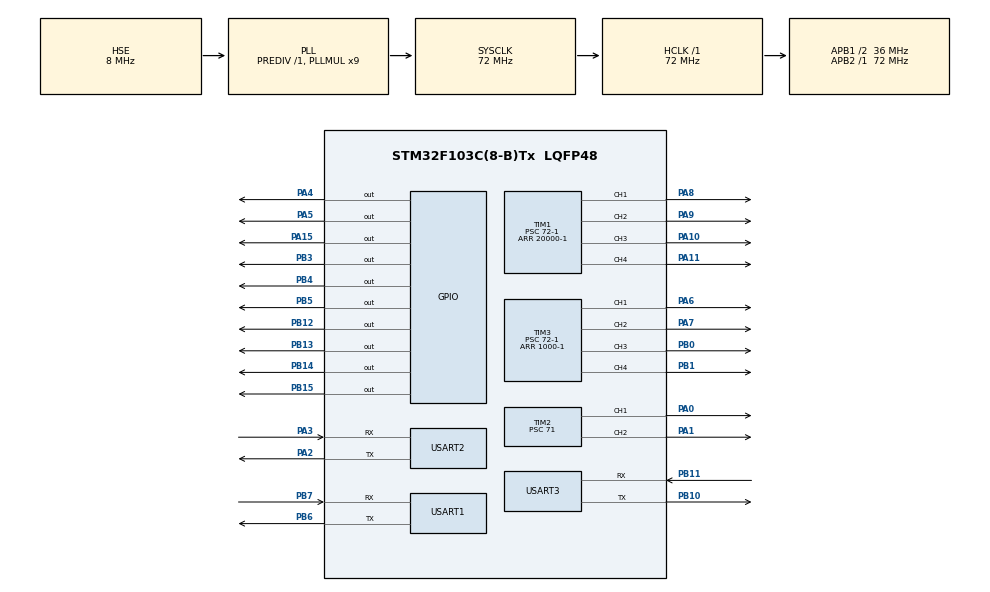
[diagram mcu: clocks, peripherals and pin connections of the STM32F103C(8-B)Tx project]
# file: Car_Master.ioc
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Mcu.Family=STM32F1
Mcu.Name=STM32F103C(8-B)Tx
Mcu.Package=LQFP48
NVIC.PriorityGroup=NVIC_PRIORITYGROUP_4
NVIC.TIM4_IRQn=true\:0\:0\:false\:false\:true\:true\:true\:true
NVIC.USART1_IRQn=true\:0\:0\:false\:false\:true\:true\:true\:true
NVIC.USART2_IRQn=true\:0\:0\:false\:false\:true\:true\:true\:true
NVIC.USART3_IRQn=true\:0\:0\:false\:false\:true\:true\:true\:true
PA0-WKUP.Signal=S_TIM2_CH1_ETR
PA1.Signal=S_TIM2_CH2
PA10.Signal=S_TIM1_CH3
PA11.Signal=S_TIM1_CH4
PA13.Mode=Serial_Wire
PA13.Signal=SYS_JTMS-SWDIO
PA14.Mode=Serial_Wire
PA14.Signal=SYS_JTCK-SWCLK
PA15.Signal=GPIO_Output
PA2.Mode=Asynchronous
PA2.Signal=USART2_TX
PA3.Mode=Asynchronous
PA3.Signal=USART2_RX
PA4.Signal=GPIO_Output
PA5.Signal=GPIO_Output
PA6.Signal=S_TIM3_CH1
PA7.Signal=S_TIM3_CH2
PA8.Signal=S_TIM1_CH1
PA9.Signal=S_TIM1_CH2
PB0.Signal=S_TIM3_CH3
PB1.Signal=S_TIM3_CH4
PB10.Mode=Asynchronous
PB10.Signal=USART3_TX
PB11.Mode=Asynchronous
PB11.Signal=USART3_RX
PB12.Signal=GPIO_Output
PB13.Signal=GPIO_Output
PB14.Signal=GPIO_Output
PB15.Signal=GPIO_Output
PB3.Signal=GPIO_Output
PB4.Signal=GPIO_Output
PB5.Signal=GPIO_Output
PB6.Mode=Asynchronous
PB6.Signal=USART1_TX
PB7.Mode=Asynchronous
PB7.Signal=USART1_RX
PD0-OSC_IN.Mode=HSE-External-Oscillator
PD0-OSC_IN.Signal=RCC_OSC_IN
PD1-OSC_OUT.Mode=HSE-External-Oscillator
PD1-OSC_OUT.Signal=RCC_OSC_OUT
ProjectManager.HeapSize=0x200
ProjectManager.StackSize=0x400
ProjectManager.TargetToolchain=MDK-ARM V5.32
RCC.AHBFreq_Value=72000000
RCC.APB1CLKDivider=RCC_HCLK_DIV2
RCC.APB1Freq_Value=36000000
RCC.APB1TimFreq_Value=72000000
RCC.APB2Freq_Value=72000000
RCC.APB2TimFreq_Value=72000000
RCC.HCLKFreq_Value=72000000
RCC.PLLMUL=RCC_PLL_MUL9
RCC.PLLSourceVirtual=RCC_PLLSOURCE_HSE
RCC.SYSCLKFreq_VALUE=72000000
RCC.SYSCLKSource=RCC_SYSCLKSOURCE_PLLCLK
RCC.USBFreq_Value=72000000
SH.S_TIM1_CH1.0=TIM1_CH1,PWM Generation1 CH1
SH.S_TIM1_CH2.0=TIM1_CH2,PWM Generation2 CH2
SH.S_TIM1_CH3.0=TIM1_CH3,PWM Generation3 CH3
SH.S_TIM1_CH4.0=TIM1_CH4,PWM Generation4 CH4
SH.S_TIM2_CH1_ETR.0=TIM2_CH1,PWM Generation1 CH1
SH.S_TIM2_CH2.0=TIM2_CH2,PWM Generation2 CH2
SH.S_TIM3_CH1.0=TIM3_CH1,PWM Generation1 CH1
SH.S_TIM3_CH2.0=TIM3_CH2,PWM Generation2 CH2
SH.S_TIM3_CH3.0=TIM3_CH3,PWM Generation3 CH3
SH.S_TIM3_CH4.0=TIM3_CH4,PWM Generation4 CH4
TIM1.Channel-PWM\ Generation1\ CH1=TIM_CHANNEL_1
TIM1.Channel-PWM\ Generation2\ CH2=TIM_CHANNEL_2
TIM1.Channel-PWM\ Generation3\ CH3=TIM_CHANNEL_3
TIM1.Channel-PWM\ Generation4\ CH4=TIM_CHANNEL_4
TIM1.Period=20000-1
TIM1.Prescaler=72-1
TIM2.Channel-PWM\ Generation1\ CH1=TIM_CHANNEL_1
TIM2.Channel-PWM\ Generation2\ CH2=TIM_CHANNEL_2
TIM2.Prescaler=71
TIM3.Channel-PWM\ Generation1\ CH1=TIM_CHANNEL_1
TIM3.Channel-PWM\ Generation2\ CH2=TIM_CHANNEL_2
TIM3.Channel-PWM\ Generation3\ CH3=TIM_CHANNEL_3
TIM3.Channel-PWM\ Generation4\ CH4=TIM_CHANNEL_4
TIM3.Period=1000-1
TIM3.Prescaler=72-1
TIM4.Period=100-1
TIM4.Prescaler=7200-1
USART1.VirtualMode=VM_ASYNC
USART2.VirtualMode=VM_ASYNC
USART3.VirtualMode=VM_ASYNC
VP_TIM1_VS_ClockSourceINT.Mode=Internal
VP_TIM3_VS_ClockSourceINT.Mode=Internal
VP_TIM4_VS_ClockSourceINT.Mode=Internal
board=custom

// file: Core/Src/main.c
/* USER CODE BEGIN Header */
/**
  ******************************************************************************
  * @file           : main.c
  * @brief          : Main program body
  ******************************************************************************
  * @attention
  *
  * Copyright (c) 2025 STMicroelectronics.
  * All rights reserved.
  *
  * This software is licensed under terms that can be found in the LICENSE file
  * in the root directory of this software component.
  * If no LICENSE file comes with this software, it is provided AS-IS.
  *
  ******************************************************************************
  */
/* USER CODE END Header */
#include "main.h"
#include "tim.h"
#include "usart.h"
#include "gpio.h"

/* USER CODE BEGIN Includes */
#include "SerialCom.h"
#include <stdio.h>
#include <stdlib.h>
/* USER CODE END Includes */

/* USER CODE BEGIN PTD */

typedef struct{
    uint8_t header[2];//0xAA 0x55
    uint8_t length;
    uint8_t frame_id;
    int8_t left_x;
    int8_t left_y;
    int8_t right_x;
    int8_t right_y;
    uint8_t keys1;
    uint8_t keys2;
    uint8_t checksum;
}XProtocol_Handle_t;

typedef struct {
    uint8_t header[2];
    uint8_t length;
    int16_t rpm[4];
    uint8_t checksum;
} Encoder_Recv_t;

typedef enum{
    STATE_HEADER1,
    STATE_HEADER2,
    STATE_LENGTH,
    STATE_DATA,
}ParserState_t;

typedef struct{
    int32_t target_rpm;
    int32_t current_rpm;
    int32_t encoder_last;
    int32_t pwm_output;
    int32_t integral;
    int32_t error_last;
}Motor_t;

Motor_t motor[4];
uint16_t servo_pwm[4]={1500,1000,2500,500};

ParserState_t bluetooth_parser_state=STATE_HEADER1;
XProtocol_Handle_t  rc_data;
uint8_t bluetooth_rx_buffer[11];
uint8_t data_buffer[16];
uint8_t bluetooth_rx_index=0;
uint8_t new_data_ready=0;
Encoder_Recv_t encoder_recv;
uint8_t encoder_rx_buf[12]; // 接收缓冲区（12字节）
uint8_t encoder_rx_idx = 0;

uint32_t motor_channel[4]={TIM_CHANNEL_1,TIM_CHANNEL_2,TIM_CHANNEL_3,TIM_CHANNEL_4};
uint32_t servo_channel[4]={TIM_CHANNEL_1,TIM_CHANNEL_2,TIM_CHANNEL_3,TIM_CHANNEL_4};
void parce_rc_command(void);
int32_t PID_Calculate(int32_t target,int32_t current,Motor_t* m);
void set_motor_speed(int motor_id,int32_t pwm);
void emergency_stop(void);
/* USER CODE END PTD */

void SystemClock_Config(void);

int main(void)
{

  /* MCU Configuration--------------------------------------------------------*/

  /* Reset of all peripherals, Initializes the Flash interface and the Systick. */
  HAL_Init();

  /* Configure the system clock */
  SystemClock_Config();

  /* Initialize all configured peripherals */
  MX_GPIO_Init();
  MX_TIM1_Init();
  MX_TIM2_Init();
  MX_TIM3_Init();
  MX_TIM4_Init();
  MX_USART1_UART_Init();
  MX_USART2_UART_Init();
  MX_USART3_UART_Init();
  MX_TIM2_Init();
  /* USER CODE BEGIN 2 */
HAL_UART_Receive_IT(&huart1,bluetooth_rx_buffer,1);
HAL_UART_Receive_IT(&huart2, &rx_data, 1);
HAL_TIM_PWM_Start(&htim1,TIM_CHANNEL_1);
HAL_TIM_PWM_Start(&htim1,TIM_CHANNEL_2);
HAL_TIM_PWM_Start(&htim1,TIM_CHANNEL_3);
HAL_TIM_PWM_Start(&htim1,TIM_CHANNEL_4);
HAL_TIM_PWM_Start(&htim2,TIM_CHANNEL_1);
HAL_TIM_PWM_Start(&htim2,TIM_CHANNEL_2);
HAL_TIM_PWM_Start(&htim3,TIM_CHANNEL_1);
HAL_TIM_PWM_Start(&htim3,TIM_CHANNEL_2);
HAL_TIM_PWM_Start(&htim3,TIM_CHANNEL_3);
HAL_TIM_PWM_Start(&htim3,TIM_CHANNEL_4);
HAL_TIM_Base_Start_IT(&htim4);
  /* USER CODE END 2 */

  /* Infinite loop */
  /* USER CODE BEGIN WHILE */

  while (1)
  {

      HAL_Delay(10);
    /* USER CODE END WHILE */

  }
}

void SystemClock_Config(void)
{
  RCC_OscInitTypeDef RCC_OscInitStruct = {0};
  RCC_ClkInitTypeDef RCC_ClkInitStruct = {0};

  /** Initializes the RCC Oscillators according to the specified parameters
  * in the RCC_OscInitTypeDef structure.
  */
  RCC_OscInitStruct.OscillatorType = RCC_OSCILLATORTYPE_HSE;
  RCC_OscInitStruct.HSEState = RCC_HSE_ON;
  RCC_OscInitStruct.HSEPredivValue = RCC_HSE_PREDIV_DIV1;
  RCC_OscInitStruct.HSIState = RCC_HSI_ON;
  RCC_OscInitStruct.PLL.PLLState = RCC_PLL_ON;
  RCC_OscInitStruct.PLL.PLLSource = RCC_PLLSOURCE_HSE;
  RCC_OscInitStruct.PLL.PLLMUL = RCC_PLL_MUL9;
  if (HAL_RCC_OscConfig(&RCC_OscInitStruct) != HAL_OK)
  {
    Error_Handler();
  }

  /** Initializes the CPU, AHB and APB buses clocks
  */
  RCC_ClkInitStruct.ClockType = RCC_CLOCKTYPE_HCLK|RCC_CLOCKTYPE_SYSCLK
                              |RCC_CLOCKTYPE_PCLK1|RCC_CLOCKTYPE_PCLK2;
  RCC_ClkInitStruct.SYSCLKSource = RCC_SYSCLKSOURCE_PLLCLK;
  RCC_ClkInitStruct.AHBCLKDivider = RCC_SYSCLK_DIV1;
  RCC_ClkInitStruct.APB1CLKDivider = RCC_HCLK_DIV2;
  RCC_ClkInitStruct.APB2CLKDivider = RCC_HCLK_DIV1;

  if (HAL_RCC_ClockConfig(&RCC_ClkInitStruct, FLASH_LATENCY_2) != HAL_OK)
  {
    Error_Handler();
  }
}

/* USER CODE BEGIN 4 */

void HAL_UART_RxCpltCallback(UART_HandleTypeDef *huart){
    if(huart->Instance==USART1){
    uint8_t byte=bluetooth_rx_buffer[0];
        switch(bluetooth_parser_state){
            case STATE_HEADER1:
                if(byte==0xAA){
                    rc_data.header[0]=byte;
                    bluetooth_parser_state=STATE_HEADER2;
                }
                break;

            case STATE_HEADER2:
                if(byte==0x55)
                {
                    rc_data.header[1]=byte;
                    bluetooth_parser_state=STATE_LENGTH;
                }
                else{
                    bluetooth_parser_state=STATE_HEADER1;
                }
                break;
            case STATE_LENGTH:
                if(byte==0x0B){
                    rc_data.length=byte;
                     bluetooth_rx_index=0;
                    bluetooth_parser_state=STATE_DATA;
                }
                else{
                    bluetooth_parser_state=STATE_HEADER1;
                }
                break;

            case STATE_DATA:
                data_buffer[bluetooth_rx_index]=byte;
                bluetooth_rx_index++;

                if(bluetooth_rx_index>=9){
                    rc_data.frame_id=data_buffer[0];
                    rc_data.left_x=(int8_t)data_buffer[1];
                    rc_data.left_y=(int8_t)data_buffer[2];
                    rc_data.right_x=(int8_t)data_buffer[3];
                    rc_data.right_y=(int8_t)data_buffer[4];
                    rc_data.keys1=data_buffer[5];
                    rc_data.keys2=data_buffer[6];
                    rc_data.checksum=data_buffer[7];
                   if(rc_data.left_y>100)rc_data.left_y=100;
                    if(rc_data.left_y<-100)rc_data.left_y=-100;
                    if(rc_data.right_x>100)rc_data.right_x=100;
                    if(rc_data.right_x<-100)rc_data.right_x=-100;

                    uint8_t calc_sum=rc_data.header[0]+rc_data.header[1]+rc_data.length+rc_data.frame_id+(uint8_t)rc_data.left_x+(uint8_t)rc_data.left_y+
                    (uint8_t)rc_data.right_x+(uint8_t)rc_data.right_y+rc_data.keys1+rc_data.keys2;
                   if(calc_sum==rc_data.checksum){
                        parce_rc_command();
                       new_data_ready=1;
                   }
                    bluetooth_parser_state=STATE_HEADER1;
                }
                break;
            }
        HAL_UART_Receive_IT(&huart1,bluetooth_rx_buffer,1);
        }
else if(huart->Instance == USART2) {
        encoder_rx_buf[encoder_rx_idx++] = rx_data;
        if(encoder_rx_idx >= 12) {
            memcpy(&encoder_recv, encoder_rx_buf, 12);
            uint8_t calc_sum = 0;
            for(uint8_t i=0; i<11; i++) calc_sum += encoder_rx_buf[i];

            if(encoder_recv.header[0] == 0xAA && encoder_recv.header[1] == 0x55
               && encoder_recv.checksum == calc_sum && encoder_recv.length == 8) {

                for(uint8_t i=0; i<4; i++) {
                    motor[i].current_rpm = encoder_recv.rpm[i];
                }
            }
            encoder_rx_idx = 0;
        }
        HAL_UART_Receive_IT(&huart2, &rx_data, 1);
    }
}

void parce_rc_command(void){
    char debug_msg[60];

    if(rc_data.left_y == 0 && rc_data.right_x == 0) {
        for(int i = 0; i < 4; i++) {
            motor[i].target_rpm = 0;
            motor[i].integral = 0;
            motor[i].error_last = 0;  // 重置微分项
        }
    }

    int32_t move_speed=rc_data.left_y*8;
    int32_t turn_speed=rc_data.right_x*5;

    motor[0].target_rpm=move_speed-turn_speed;//左前
    motor[1].target_rpm=move_speed+turn_speed;//右前
    motor[2].target_rpm=move_speed-turn_speed;//左后
    motor[3].target_rpm=move_speed+turn_speed;//右后

    for(int i=0;i<4;i++){
        if(motor[i].target_rpm>1000)motor[i].target_rpm=1000;
        if(motor[i].target_rpm<-1000)motor[i].target_rpm=-1000;
    }
    if(rc_data.keys1!=0x00){
    //舵机1、2
    if(rc_data.keys1&0x08){
        servo_pwm[0]+=100;
        if(servo_pwm[0]>2500)servo_pwm[0]=2500;
    }
    if(rc_data.keys1&0x04){
        servo_pwm[0]-=100;
        if(servo_pwm[0]<500)servo_pwm[0]=500;
    }
    if(rc_data.keys1&0x02){
        servo_pwm[1]+=100;
        if(servo_pwm[1]>2500)servo_pwm[1]=2500;
    }
    if(rc_data.keys1&0x01){
        servo_pwm[1]-=100;
        if(servo_pwm[1]<200)servo_pwm[1]=500;
    }
//舵机3、4
    if(rc_data.keys1&0x80){
        servo_pwm[2]+=100;
        if(servo_pwm[2]>2500)servo_pwm[2]=2500;
    }
    if(rc_data.keys1&0x40){
        servo_pwm[2]-=100;
        if(servo_pwm[2]<500)servo_pwm[2]=500;
    }
    if(rc_data.keys1&0x20){
        servo_pwm[3]+=100;
        if(servo_pwm[3]>2500)servo_pwm[3]=2500;
    }
    if(rc_data.keys1&0x10){
        servo_pwm[3]-=100;
        if(servo_pwm[3]<500)servo_pwm[3]=500;
    }
    //更新舵机PWM
    for(int i=0;i<4;i++){
     __HAL_TIM_SET_COMPARE(&htim1,servo_channel[i],servo_pwm[i]);
    }
     __HAL_TIM_SET_COMPARE(&htim2,TIM_CHANNEL_1,servo_pwm[1]);
    __HAL_TIM_SET_COMPARE(&htim2,TIM_CHANNEL_2,servo_pwm[2]);

}
}
int32_t PID_Calculate(int32_t target,int32_t current,Motor_t* m){
    int32_t error=target-current;
    if(target==0){
        m->integral=0;
       m->error_last = 0;
        return 0;
    }
    else{
    m->integral+=error;
        if(m->integral>1000)m->integral=1000;
        if(m->integral<-1000)m->integral=-1000;
    }
    int32_t D=error-m->error_last;
    m->error_last=error;
    int32_t output=15*error+2*m->integral+8*D;
    if(output>1000)output=1000;
    if(output<-1000)output=-1000;
    return output;
}

void set_motor_speed(int motor_id,int32_t pwm){
    GPIO_PinState in1,in2;
    if(pwm>0){
        in1=GPIO_PIN_SET;in2=GPIO_PIN_RESET;

    }
    else if(pwm<0){
        in1=GPIO_PIN_RESET;in2=GPIO_PIN_SET;
        pwm=-pwm;

    }
    else{
        in1=GPIO_PIN_RESET;in2=GPIO_PIN_RESET;

    }
    switch(motor_id){
        case 0:
        HAL_GPIO_WritePin(GPIOB,GPIO_PIN_12,in1);
        HAL_GPIO_WritePin(GPIOB,GPIO_PIN_13,in2);
        __HAL_TIM_SET_COMPARE(&htim3,TIM_CHANNEL_1,pwm);
        break;

        case 1:
        HAL_GPIO_WritePin(GPIOB,GPIO_PIN_14,in1);
        HAL_GPIO_WritePin(GPIOB,GPIO_PIN_15,in2);
        __HAL_TIM_SET_COMPARE(&htim3,TIM_CHANNEL_2,pwm);
        break;

        case 2:
        HAL_GPIO_WritePin(GPIOA,GPIO_PIN_4,in1);
        HAL_GPIO_WritePin(GPIOA,GPIO_PIN_5,in2);
        __HAL_TIM_SET_COMPARE(&htim3,TIM_CHANNEL_3,pwm);
        break;

        case 3:
        HAL_GPIO_WritePin(GPIOB,GPIO_PIN_4,in1);
        HAL_GPIO_WritePin(GPIOB,GPIO_PIN_5,in2);
        __HAL_TIM_SET_COMPARE(&htim3,TIM_CHANNEL_4,pwm);
        break;
    }

}

void HAL_TIM_PeriodElapsedCallback(TIM_HandleTypeDef *htim){
    if(htim->Instance==TIM4){

        for(int i=0;i<4;i++){

            motor[i].pwm_output=PID_Calculate(motor[i].target_rpm,motor[i].current_rpm,&motor[i]);
            set_motor_speed(i,motor[i].pwm_output);
        }
    }
}

/* USER CODE END 4 */

void Error_Handler(void)
{
  __disable_irq();
  while (1)
  {
  }
}
